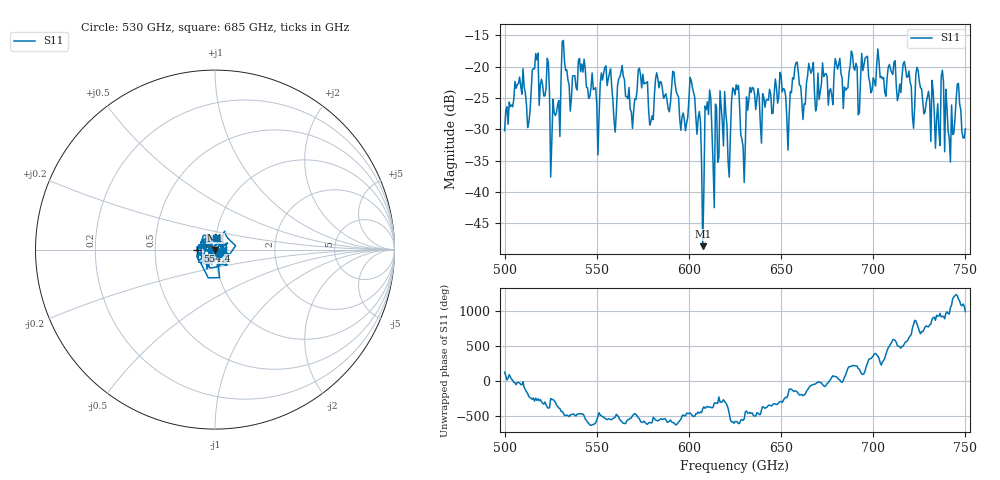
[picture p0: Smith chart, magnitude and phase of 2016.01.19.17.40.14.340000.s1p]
!Created with skrf (http://scikit-rf.org).
# GHz S RI R 50.0
!freq ReS11 ImS11
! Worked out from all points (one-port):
!   401 points, 500 GHz to 750 GHz, reference 50 ohm
!   lowest |S11| = -48.6 dB at 607.5 GHz (marker M1), VSWR 1.01, Z = 50.3 - j0.245 ohm
!   |S11| at or under -10 dB: start of sweep to end of sweep
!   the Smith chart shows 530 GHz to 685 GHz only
!   S11 on the Smith chart (normalised r, x): 530 GHz: 1.04, -0.03; 554.4 GHz: 0.82, -0.01; 685 GHz: 1.01, +0.13
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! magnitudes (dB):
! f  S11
! 500 GHz  -30.2
! 506.9 GHz  -22.9
! 513.1 GHz  -28.9
! 516.9 GHz  -17.9
! 526.2 GHz  -25.2
! 530 GHz  -31.1
! 531.2 GHz  -16.0
! 550 GHz  -25.9
! 554.4 GHz  -20.1
! 559.4 GHz  -28.6
! 562.5 GHz  -21.7
! 569.4 GHz  -29.9
! 573.8 GHz  -21.3
! 579.4 GHz  -28.8
! 593.8 GHz  -24.5
! 601.9 GHz  -23.3
! 607.5 GHz  -48.6
! 610 GHz  -25.6
! 621.2 GHz  -35.1
! 625 GHz  -24.5
! 629.4 GHz  -32.7
! 633.8 GHz  -24.1
! 653.8 GHz  -33.3
! 656.2 GHz  -21.8
! 685 GHz  -23.7
! 687.5 GHz  -19.8
! 718.8 GHz  -21.6
! 750 GHz  -29.9
